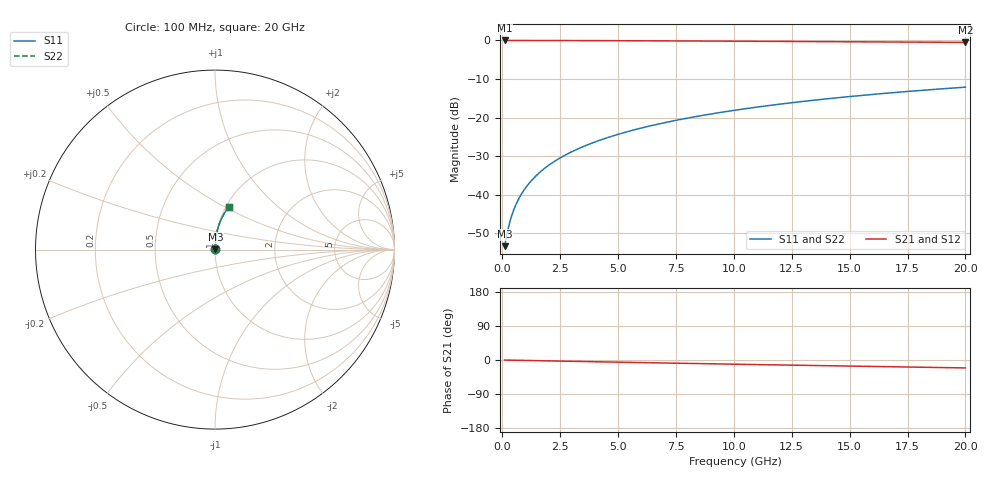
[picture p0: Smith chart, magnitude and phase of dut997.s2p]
! Touchstone file exported from HFSS 2024.1.0
!  File:  C:/UserFiles/LocalFiles/RDL_TSV_Batchsim/temp_RDL_top_997_1779939850.aedt
!  Generated:  11:46:40 AM May 28, 2026
!  Design:  RDL_top
!  Project:  temp_RDL_top_997_1779939850
!  Setup:  Setup1
!  Solution:  Sweep
! Variables:
!  dtsv = 10.80580581um
!  hbump = 3um
!  htsv = 78.09um
!  ldown = 100um
!  lrdl = 244.65um
!  p = 40
!  p1 = 49.03um
!  rhole = 1um
!  t = 450um
!  tdown = 3.915915916um
!  trdl = 3.32um
!  wdown = 15.38538539um
!  wrdl = 16.73um
# GHz S MA R 50.000000
! Terminal data exported
! Port[1] = Box2_T1
! Port[2] = Box2_T2
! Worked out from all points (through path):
!   200 points, 100 MHz to 20 GHz, reference 50 ohm
!   highest |S21| = -0.02 dB at 100 MHz (marker M1); lowest = -0.5 dB at 20 GHz (marker M2)
!   group delay of S21, straight-line fit = 2.89 ps
!   lowest |S11| = -53.3 dB at 100 MHz (marker M3), VSWR 1.00, Z = 50.2 + j0.127 ohm
!   |S11| at or under -10 dB: start of sweep to end of sweep
!   |S22| runs from -53.3 to -12.1 dB; largest |S21 - S12| = 2.1e-15
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0.1  0.002161 35.8  0.9982 -0.1  0.9982 -0.1  0.002161 35.8
! Gamma 0 0 0 0
! Port Impedance 50 0 50 0
0.2  0.003089 54.5  0.9982 -0.2  0.9982 -0.2  0.003089 54.5
0.3  0.004173 63.7  0.9981 -0.4  0.9981 -0.4  0.004173 63.7
0.4  0.005301 68.9  0.9981 -0.5  0.9981 -0.5  0.005301 68.9
0.5  0.006444 72.3  0.998 -0.6  0.998 -0.6  0.006445 72.3
0.6  0.007595 74.8  0.9979 -0.7  0.9979 -0.7  0.007595 74.7
0.8  0.009912 77.9  0.9978 -0.9  0.9978 -0.9  0.009912 77.9
1.1  0.01342 80.7  0.9976 -1.3  0.9976 -1.3  0.01342 80.7
1.5  0.01814 82.8  0.9972 -1.8  0.9972 -1.8  0.01814 82.8
1.8  0.02171 83.7  0.9969 -2.1  0.9969 -2.1  0.02171 83.7
2.1  0.02529 84.3  0.9966 -2.5  0.9966 -2.5  0.02529 84.3
2.7  0.0325 85.0  0.9958 -3.1  0.9958 -3.1  0.0325 85.0
3.5  0.04221 85.4  0.9944 -4.1  0.9944 -4.1  0.04221 85.4
4.2  0.05079 85.5  0.993 -4.8  0.993 -4.8  0.05079 85.5
5  0.06069 85.3  0.9912 -5.7  0.9912 -5.7  0.06069 85.3
5.9  0.07193 85.0  0.989 -6.7  0.989 -6.7  0.07193 85.0
6.8  0.08328 84.5  0.9866 -7.7  0.9866 -7.7  0.08328 84.5
8.3  0.1023 83.4  0.9822 -9.3  0.9822 -9.3  0.1023 83.4
10.1  0.1253 81.9  0.9766 -11.2  0.9766 -11.2  0.1253 81.9
13.4  0.1673 78.8  0.9658 -14.5  0.9658 -14.5  0.1673 78.8
16.7  0.2083 75.5  0.9543 -17.7  0.9543 -17.7  0.2083 75.5
20  0.2479 72.2  0.9421 -20.9  0.9421 -20.9  0.2479 72.2
